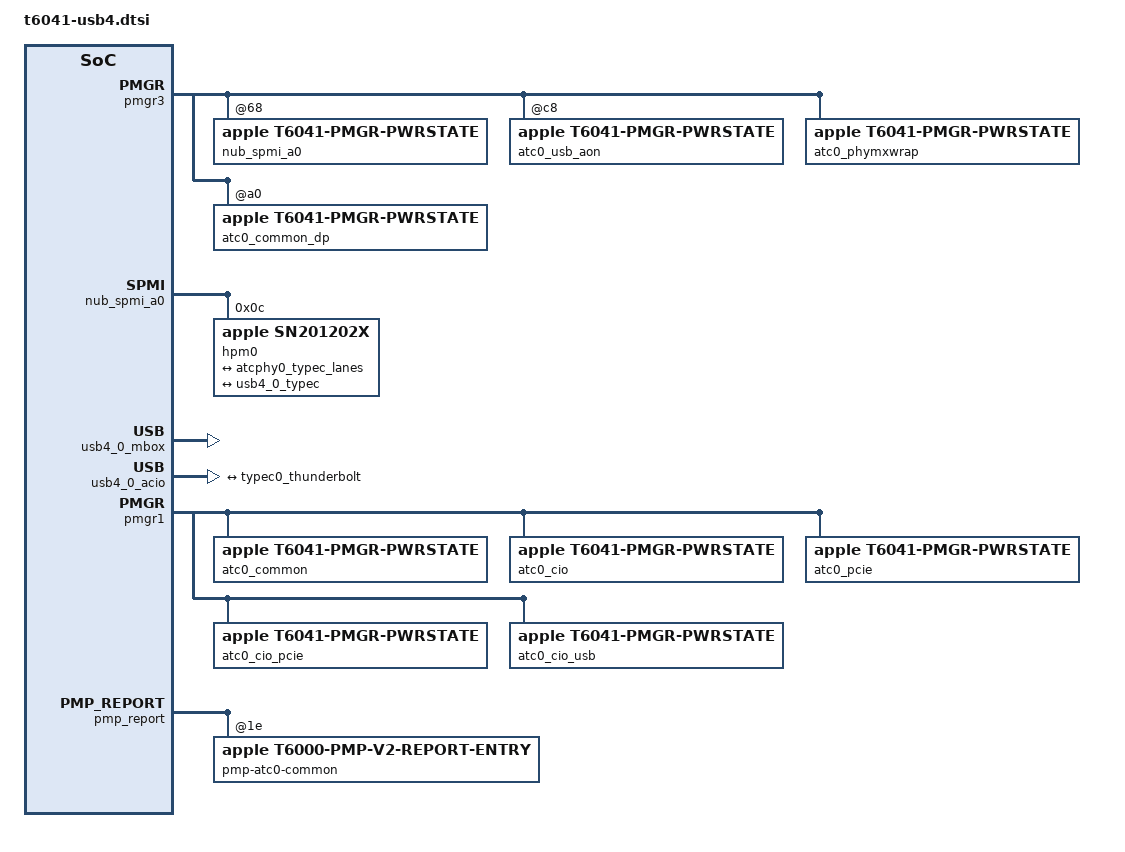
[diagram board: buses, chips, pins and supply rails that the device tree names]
// SPDX-License-Identifier: GPL-2.0+ OR MIT
/* EXPERIMENTAL: J616c left-rear port (ATC0), native ADT resources.
 * Keep HPM1/ATC1 unbound: it carries the development USB transport.
 */
#include <dt-bindings/spmi/spmi.h>

&pmgr3 {
	ps_nub_spmi_a0: power-controller@68 {
		compatible = "apple,t6041-pmgr-pwrstate", "apple,t8103-pmgr-pwrstate";
		reg = <0x68 4>;
		#power-domain-cells = <0>;
		#reset-cells = <0>;
		label = "nub_spmi_a0";
		apple,always-on;
	};
};

&{/soc} {
	nub_spmi_a0: spmi@509188000 {
		compatible = "apple,t6041-spmi", "apple,t8103-spmi";
		reg = <5 0x09188000 0 0x4000>;
		#address-cells = <2>;
		#size-cells = <0>;
		#interrupt-cells = <2>;
		interrupt-controller;
		interrupt-parent = <&aic>;
		/* ADT IRQ256 is local notify; IRQ866 is its AIC aggregate. */
		interrupts = <AIC_IRQ 866 IRQ_TYPE_LEVEL_HIGH>;
		power-domains = <&ps_nub_spmi_a0>;

		hpm0: usb-pd@c {
			compatible = "apple,sn201202x";
			reg = <0xc SPMI_USID>;
			interrupts = <11 IRQ_TYPE_EDGE_RISING>,
				     <13 IRQ_TYPE_EDGE_RISING>,
				     <17 IRQ_TYPE_EDGE_RISING>,
				     <19 IRQ_TYPE_EDGE_RISING>;
			interrupt-names = "irq", "select", "sleep", "wake";

			typec0: connector {
				label = "USB-C Left-back";
				compatible = "usb-c-connector";
				power-role = "dual";
				data-role = "dual";
				try-power-role = "sink";
			};
		};
	};
};

&pmgr1 {
	ps_atc0_common: power-controller@390 {
		compatible = "apple,t6041-pmgr-pwrstate", "apple,t8103-pmgr-pwrstate";
		reg = <0x390 4>;
		#power-domain-cells = <0>;
		#reset-cells = <0>;
		label = "atc0_common";
		power-domains = <&ps_fab2_soc>;
	};
};

&pmp_report {
	pmp_report_atc0: report@1e {
		compatible = "apple,t6000-pmp-v2-report-entry";
		reg = <30>;
		label = "pmp-atc0-common";
		/* The attached cable can leave PHYMXWRAP active in iBoot. */
		apple,boot-on;
		#power-domain-cells = <0>;
		power-domains = <&ps_atc0_common>;
	};
};

&pmgr3 {
	ps_atc0_usb_aon: power-controller@c8 {
		compatible = "apple,t6041-pmgr-pwrstate", "apple,t8103-pmgr-pwrstate";
		reg = <0xc8 4>;
		#power-domain-cells = <0>;
		#reset-cells = <0>;
		label = "atc0_usb_aon";
	};
	ps_atc0_phymxwrap: power-controller@150 {
		compatible = "apple,t6041-pmgr-pwrstate", "apple,t8103-pmgr-pwrstate";
		reg = <0x150 4>;
		#power-domain-cells = <0>;
		#reset-cells = <0>;
		label = "atc0_phymxwrap";
		power-domains = <&pmp_report_atc0>, <&ps_atc0_usb_aon>;
	};
	ps_atc0_common_dp: power-controller@a0 {
		compatible = "apple,t6041-pmgr-pwrstate", "apple,t8103-pmgr-pwrstate";
		reg = <0xa0 4>;
		#power-domain-cells = <0>;
		#reset-cells = <0>;
		label = "atc0_common_dp";
	};
};

&{/aliases} {
	atcphy0 = &atcphy0;
};

&{/soc} {
	acio_phy0_mbox: mailbox@383148000 {
		compatible = "apple,t6041-asc-mailbox", "apple,asc-mailbox-v4";
		reg = <3 0x83148000 0 0x4000>;
		interrupt-parent = <&aic>;
		interrupts = <AIC_IRQ 938 IRQ_TYPE_LEVEL_HIGH>,
			     <AIC_IRQ 939 IRQ_TYPE_LEVEL_HIGH>,
			     <AIC_IRQ 940 IRQ_TYPE_LEVEL_HIGH>,
			     <AIC_IRQ 941 IRQ_TYPE_LEVEL_HIGH>;
		interrupt-names = "send-empty", "send-not-empty",
				  "recv-empty", "recv-not-empty";
		#mbox-cells = <0>;
	};

	atcphy0: phy@383000000 {
		compatible = "apple,t6040-atcphy";
		reg = <3 0x83000000 0 0x30000>,
		      <3 0x83200000 0 0x4000>,
		      <3 0x83244000 0 0x4000>,
		      <3 0x83250000 0 0x4000>,
		      <3 0x83140000 0 0x4000>,
		      <3 0x830c0000 0 0x10000>;
		reg-names = "core", "power", "fabric", "common", "coproc", "sram";
		#phy-cells = <1>;
		mode-switch;
		orientation-switch;
		mboxes = <&acio_phy0_mbox>;
		power-domains = <&ps_atc0_usb_aon>, <&pmp_report_atc0>,
				<&ps_atc0_phymxwrap>, <&ps_atc0_common_dp>;
		port {
			atcphy0_typec_lanes: endpoint {
				remote-endpoint = <&typec0_connector_ss>;
			};
		};
	};
};

&typec0 {
	ports {
		#address-cells = <1>;
		#size-cells = <0>;
		port@1 {
			reg = <1>;
			typec0_connector_ss: endpoint {
				remote-endpoint = <&atcphy0_typec_lanes>;
			};
		};
	};
};

&pmgr1 {
	ps_atc0_cio: power-controller@398 {
		compatible = "apple,t6041-pmgr-pwrstate", "apple,t8103-pmgr-pwrstate";
		reg = <0x398 4>;
		#power-domain-cells = <0>;
		#reset-cells = <0>;
		label = "atc0_cio";
		power-domains = <&pmp_report_atc0>;
	};
	ps_atc0_pcie: power-controller@3a0 {
		compatible = "apple,t6041-pmgr-pwrstate", "apple,t8103-pmgr-pwrstate";
		reg = <0x3a0 4>;
		#power-domain-cells = <0>;
		#reset-cells = <0>;
		label = "atc0_pcie";
		power-domains = <&pmp_report_atc0>;
	};
	ps_atc0_cio_pcie: power-controller@3a8 {
		compatible = "apple,t6041-pmgr-pwrstate", "apple,t8103-pmgr-pwrstate";
		reg = <0x3a8 4>;
		#power-domain-cells = <0>;
		#reset-cells = <0>;
		label = "atc0_cio_pcie";
		power-domains = <&ps_atc0_cio>;
	};
	ps_atc0_cio_usb: power-controller@3b0 {
		compatible = "apple,t6041-pmgr-pwrstate", "apple,t8103-pmgr-pwrstate";
		reg = <0x3b0 4>;
		#power-domain-cells = <0>;
		#reset-cells = <0>;
		label = "atc0_cio_usb";
		power-domains = <&ps_atc0_cio>;
	};
};

&{/aliases} {
	usb4_0_rc = &usb4_0_acio;
	usb4_0_nhi = &usb4_0_nhi;
};

&{/soc} {
	cio_reset_regs: syscon@502822000 {
		compatible = "syscon", "simple-mfd";
		reg = <5 0x02822000 0 0x4000>;
		#address-cells = <1>;
		#size-cells = <1>;
		cio_reset: reset-controller@24 {
			compatible = "apple,t6041-cio-reset", "apple,t6000-cio-reset";
			/* Native: request bit0, busy bit16, then both clear. */
			reg = <0x24 4>;
			#reset-cells = <1>;
		};
	};
	usb4_0_mbox: mailbox@381108000 {
		compatible = "apple,t6041-asc-mailbox", "apple,asc-mailbox-v4";
		reg = <3 0x81108000 0 0x4000>;
		interrupt-parent = <&aic>;
		interrupts = <AIC_IRQ 934 IRQ_TYPE_LEVEL_HIGH>,
			     <AIC_IRQ 935 IRQ_TYPE_LEVEL_HIGH>,
			     <AIC_IRQ 936 IRQ_TYPE_LEVEL_HIGH>,
			     <AIC_IRQ 937 IRQ_TYPE_LEVEL_HIGH>;
		interrupt-names = "send-empty", "send-not-empty",
				  "recv-empty", "recv-not-empty";
		#mbox-cells = <0>;
	};
	usb4_0_acio: cio@381ac0000 {
		compatible = "apple,t6041-usb4-acio", "apple,t8103-usb4-acio";
		reg = <3 0x81ac0000 0 0xc000>, <3 0x81080000 0 0x20000>;
		reg-names = "rc", "sram";
		mboxes = <&usb4_0_mbox>;
		resets = <&cio_reset 0>;
		power-domains = <&ps_atc0_cio>, <&ps_atc0_cio_pcie>,
				<&ps_atc0_cio_usb>, <&ps_atc0_pcie>;
		pinctrl-0 = <&acio0_pins>;
		pinctrl-names = "default";
		thunderbolt-switch;
		#address-cells = <2>;
		#size-cells = <2>;
		ranges;
		nonposted-mmio;

		usb4_0_dart: iommu@381a80000 {
			compatible = "apple,t6041-dart", "apple,t8110-dart";
			reg = <3 0x81a80000 0 0xc000>;
			interrupt-parent = <&aic>;
			interrupts = <AIC_IRQ 1789 IRQ_TYPE_LEVEL_HIGH>;
			#iommu-cells = <1>;
			apple,dma-range = /bits/ 64 <0x10000000000 0x30000000000>;
		};
		usb4_0_nhi: nhi@381f00000 {
			compatible = "apple,t6041-usb4-nhi", "apple,t6040-usb4-nhi", "apple,t8103-usb4-nhi";
			/* CIO v2 has no separate PDF register aperture. */
			reg = <3 0x81f00000 0 0x100000>;
			reg-names = "nhi";
			interrupt-parent = <&aic>;
			interrupts = <AIC_IRQ 1762 IRQ_TYPE_LEVEL_HIGH>,
				<AIC_IRQ 1763 IRQ_TYPE_LEVEL_HIGH>,
				<AIC_IRQ 1764 IRQ_TYPE_LEVEL_HIGH>,
				<AIC_IRQ 1765 IRQ_TYPE_LEVEL_HIGH>,
				<AIC_IRQ 1766 IRQ_TYPE_LEVEL_HIGH>,
				<AIC_IRQ 1767 IRQ_TYPE_LEVEL_HIGH>,
				<AIC_IRQ 1768 IRQ_TYPE_LEVEL_HIGH>,
				<AIC_IRQ 1769 IRQ_TYPE_LEVEL_HIGH>,
				<AIC_IRQ 1770 IRQ_TYPE_LEVEL_HIGH>,
				<AIC_IRQ 1771 IRQ_TYPE_LEVEL_HIGH>,
				<AIC_IRQ 1772 IRQ_TYPE_LEVEL_HIGH>,
				<AIC_IRQ 1773 IRQ_TYPE_LEVEL_HIGH>,
				<AIC_IRQ 1774 IRQ_TYPE_LEVEL_HIGH>,
				<AIC_IRQ 1775 IRQ_TYPE_LEVEL_HIGH>,
				<AIC_IRQ 1776 IRQ_TYPE_LEVEL_HIGH>,
				<AIC_IRQ 1777 IRQ_TYPE_LEVEL_HIGH>,
				<AIC_IRQ 1778 IRQ_TYPE_LEVEL_HIGH>,
				<AIC_IRQ 1779 IRQ_TYPE_LEVEL_HIGH>,
				<AIC_IRQ 1780 IRQ_TYPE_LEVEL_HIGH>,
				<AIC_IRQ 1781 IRQ_TYPE_LEVEL_HIGH>,
				<AIC_IRQ 1782 IRQ_TYPE_LEVEL_HIGH>,
				<AIC_IRQ 1783 IRQ_TYPE_LEVEL_HIGH>,
				<AIC_IRQ 1784 IRQ_TYPE_LEVEL_HIGH>,
				<AIC_IRQ 1785 IRQ_TYPE_LEVEL_HIGH>;
			interrupt-names = "txring0",
				"txring1",
				"txring2",
				"txring3",
				"txring4",
				"txring5",
				"txring6",
				"txring7",
				"txring8",
				"txring9",
				"txring10",
				"txring11",
				"rxring0",
				"rxring1",
				"rxring2",
				"rxring3",
				"rxring4",
				"rxring5",
				"rxring6",
				"rxring7",
				"rxring8",
				"rxring9",
				"rxring10",
				"rxring11";
			iommus = <&usb4_0_dart 0>,
				<&usb4_0_dart 1>,
				<&usb4_0_dart 2>,
				<&usb4_0_dart 3>,
				<&usb4_0_dart 4>,
				<&usb4_0_dart 5>,
				<&usb4_0_dart 6>,
				<&usb4_0_dart 7>,
				<&usb4_0_dart 8>,
				<&usb4_0_dart 9>,
				<&usb4_0_dart 10>,
				<&usb4_0_dart 11>,
				<&usb4_0_dart 16>,
				<&usb4_0_dart 17>,
				<&usb4_0_dart 18>,
				<&usb4_0_dart 19>,
				<&usb4_0_dart 20>,
				<&usb4_0_dart 21>,
				<&usb4_0_dart 22>,
				<&usb4_0_dart 23>,
				<&usb4_0_dart 24>,
				<&usb4_0_dart 25>,
				<&usb4_0_dart 26>,
				<&usb4_0_dart 27>;
			apple,thunderbolt-drom = [00];
		};
	};
};

&pinctrl_aop {
	acio0_pins: acio0-pins {
		pinmux = <APPLE_PINMUX(49, 1)>;
	};
};

&typec0 {
	ports {
		port@2 {
			reg = <2>;
			typec0_thunderbolt: endpoint {
				remote-endpoint = <&usb4_0_typec>;
			};
		};
	};
};

&usb4_0_acio {
	ports {
		#address-cells = <1>;
		#size-cells = <0>;
		port@1 {
			reg = <1>;
			usb4_0_typec: endpoint {
				remote-endpoint = <&typec0_thunderbolt>;
			};
		};
	};
};
